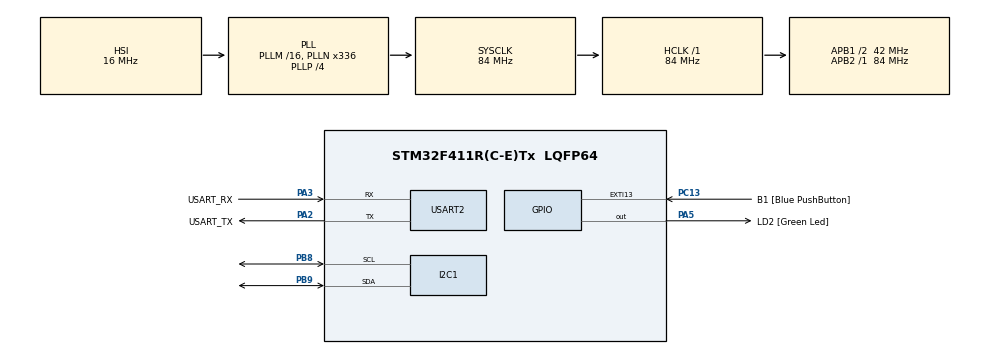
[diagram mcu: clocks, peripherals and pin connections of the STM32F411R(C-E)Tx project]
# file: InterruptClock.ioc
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I2C1.I2C_Mode=I2C_Fast
Mcu.Family=STM32F4
Mcu.Name=STM32F411R(C-E)Tx
Mcu.Package=LQFP64
NVIC.PriorityGroup=NVIC_PRIORITYGROUP_0
NVIC.TIM1_UP_TIM10_IRQn=true\:0\:0\:false\:false\:true\:true\:true\:true
PA13.GPIO_Label=TMS
PA13.Mode=Serial_Wire
PA13.Signal=SYS_JTMS-SWDIO
PA14.GPIO_Label=TCK
PA14.Mode=Serial_Wire
PA14.Signal=SYS_JTCK-SWCLK
PA2.GPIO_Label=USART_TX
PA2.Mode=Asynchronous
PA2.Signal=USART2_TX
PA3.GPIO_Label=USART_RX
PA3.Mode=Asynchronous
PA3.Signal=USART2_RX
PA5.GPIO_Label=LD2 [Green Led]
PA5.Signal=GPIO_Output
PB3.GPIO_Label=SWO
PB3.Signal=SYS_JTDO-SWO
PB8.Mode=I2C
PB8.Signal=I2C1_SCL
PB9.Mode=I2C
PB9.Signal=I2C1_SDA
PC13-ANTI_TAMP.GPIO_Label=B1 [Blue PushButton]
PC13-ANTI_TAMP.GPIO_ModeDefaultEXTI=GPIO_MODE_IT_FALLING
PC13-ANTI_TAMP.Signal=GPXTI13
PC14-OSC32_IN.Mode=LSE-External-Oscillator
PC14-OSC32_IN.Signal=RCC_OSC32_IN
PC15-OSC32_OUT.Mode=LSE-External-Oscillator
PC15-OSC32_OUT.Signal=RCC_OSC32_OUT
PH0\ -\ OSC_IN.Mode=HSE-External-Clock-Source
PH0\ -\ OSC_IN.Signal=RCC_OSC_IN
PH1\ -\ OSC_OUT.Mode=HSE-External-Clock-Source
PH1\ -\ OSC_OUT.Signal=RCC_OSC_OUT
ProjectManager.HeapSize=0x200
ProjectManager.StackSize=0x400
ProjectManager.TargetToolchain=STM32CubeIDE
RCC.48MHZClocksFreq_Value=84000000
RCC.AHBFreq_Value=84000000
RCC.APB1CLKDivider=RCC_HCLK_DIV2
RCC.APB1Freq_Value=42000000
RCC.APB1TimFreq_Value=84000000
RCC.APB2Freq_Value=84000000
RCC.APB2TimFreq_Value=84000000
RCC.CortexFreq_Value=84000000
RCC.FLatency-AdvancedSettings=FLASH_LATENCY_2
RCC.HCLKFreq_Value=84000000
RCC.HSE_VALUE=8000000
RCC.HSI_VALUE=16000000
RCC.PLLN=336
RCC.PLLP=RCC_PLLP_DIV4
RCC.RCC_RTC_Clock_Source=RCC_RTCCLKSOURCE_LSI
RCC.RCC_RTC_Clock_SourceVirtual=RCC_RTCCLKSOURCE_LSI
RCC.SYSCLKFreq_VALUE=84000000
RCC.SYSCLKSource=RCC_SYSCLKSOURCE_PLLCLK
RCC.VCOOutputFreq_Value=336000000
TIM1.ClockDivision=TIM_CLOCKDIVISION_DIV1
TIM1.Period=9999
TIM1.Prescaler=8399
USART2.VirtualMode=VM_ASYNC
VP_TIM1_VS_ClockSourceINT.Mode=Internal
VP_TIM1_VS_ClockSourceITR.Mode=TriggerSource_ITR0
board=NUCLEO-F411RE

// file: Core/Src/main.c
/* USER CODE BEGIN Header */
/**
  ******************************************************************************
  * @file           : main.c
  * @brief          : Main program body
  ******************************************************************************
  * @attention
  *
  * Copyright (c) 2026 STMicroelectronics.
  * All rights reserved.
  *
  * This software is licensed under terms that can be found in the LICENSE file
  * in the root directory of this software component.
  * If no LICENSE file comes with this software, it is provided AS-IS.
  *
  ******************************************************************************
  */
/* USER CODE END Header */
#include "main.h"

/* USER CODE BEGIN Includes */
#include <stdio.h>
#include <stm32f4xx_hal.h>

#include "ssd1306/lib/ssd1306.h"
#include "ssd1306/lib/fonts/font_8x8.h"
#include "ssd1306/lib/fonts/font_16x16.h"
/* USER CODE END Includes */

I2C_HandleTypeDef hi2c1;

TIM_HandleTypeDef htim1;

UART_HandleTypeDef huart2;

/* USER CODE BEGIN PV */
	uint8_t hour;
	uint8_t	minute;
	volatile uint8_t second;		//use the volatile keyword to tell the compiler not to optimize this variable, as we use it in the ISR

	char displayTimeBuffer[9] = "hello!";
/* USER CODE END PV */

void SystemClock_Config(void);
static void MX_GPIO_Init(void);
static void MX_USART2_UART_Init(void);
static void MX_TIM1_Init(void);
static void MX_I2C1_Init(void);

/* USER CODE BEGIN 0 */

int _write(int file, char* ptr, int len) {
    for(int i = 0; i < len; i++) {
        //ITM_SendChar((*ptr++));                    // ADD THIS
    }
    HAL_UART_Transmit(&huart2, (const uint8_t*)ptr, len, 100);
    return len;
}
//---------------Clock ISR-----------------------------
void HAL_TIM_PeriodElapsedCallback(TIM_HandleTypeDef *htim){
	HAL_GPIO_TogglePin(GPIOA, GPIO_PIN_5);		//toggle state of onboard LED
	second++;									//update second
}

/* USER CODE END 0 */

int main(void)
{

  /* MCU Configuration--------------------------------------------------------*/

  /* Reset of all peripherals, Initializes the Flash interface and the Systick. */
  HAL_Init();

  /* Configure the system clock */
  SystemClock_Config();

  /* Initialize all configured peripherals */
  MX_GPIO_Init();
  MX_USART2_UART_Init();
  MX_TIM1_Init();
  MX_I2C1_Init();
  /* USER CODE BEGIN 2 */
  HAL_TIM_Base_Start_IT(&htim1);

  //set up the OLED screen
  ssd1306_t screen = {};
        if (!ssd1306_init(&screen, &hi2c1))
        	return 1;

  /* USER CODE END 2 */

  /* Infinite loop */
  while (1)
  {

    /* USER CODE BEGIN 3 */
	  uint8_t userButton =  !HAL_GPIO_ReadPin(GPIOC, GPIO_PIN_13);		//Poll GPIO here to react to user input quicker

	  if(userButton) ++minute;		//check button input, increase the minute count if pressed
	  if(second >= 60) {			//increase the minutes and reset the seconds when we reach 60
		 ++minute;
		 second -= 60;
	  }
	  if(minute >= 60) {			//roll-over 60 minutes to an hour
	  	++hour;
	  	minute -= 60;
	  		  }
	  if(hour >= 24) hour -= 24;	//once we hit midnight, reset hours

	  ssd1306_fill(&screen, BLACK);	//clear the screen
	  //make the string to print to the screen, and ensure that we don't overflow our buffer
	  snprintf(displayTimeBuffer, sizeof(displayTimeBuffer), "%02d:%02d:%02d", hour % 24, minute % 60, second % 60);
	  ssd1306_draw_text(&screen, &font_16x16, displayTimeBuffer, 0, 24);	//print our time, center on the screen
	  ssd1306_update(&screen);	//send the frame to be displayed
	  if(userButton) HAL_Delay(300);	//short delay to make sure multiple
  }
  /* USER CODE END 3 */
}

void SystemClock_Config(void)
{
  RCC_OscInitTypeDef RCC_OscInitStruct = {0};
  RCC_ClkInitTypeDef RCC_ClkInitStruct = {0};

  /** Configure the main internal regulator output voltage
  */
  __HAL_RCC_PWR_CLK_ENABLE();
  __HAL_PWR_VOLTAGESCALING_CONFIG(PWR_REGULATOR_VOLTAGE_SCALE1);

  /** Initializes the RCC Oscillators according to the specified parameters
  * in the RCC_OscInitTypeDef structure.
  */
  RCC_OscInitStruct.OscillatorType = RCC_OSCILLATORTYPE_HSI;
  RCC_OscInitStruct.HSIState = RCC_HSI_ON;
  RCC_OscInitStruct.HSICalibrationValue = RCC_HSICALIBRATION_DEFAULT;
  RCC_OscInitStruct.PLL.PLLState = RCC_PLL_ON;
  RCC_OscInitStruct.PLL.PLLSource = RCC_PLLSOURCE_HSI;
  RCC_OscInitStruct.PLL.PLLM = 16;
  RCC_OscInitStruct.PLL.PLLN = 336;
  RCC_OscInitStruct.PLL.PLLP = RCC_PLLP_DIV4;
  RCC_OscInitStruct.PLL.PLLQ = 4;
  if (HAL_RCC_OscConfig(&RCC_OscInitStruct) != HAL_OK)
  {
    Error_Handler();
  }

  /** Initializes the CPU, AHB and APB buses clocks
  */
  RCC_ClkInitStruct.ClockType = RCC_CLOCKTYPE_HCLK|RCC_CLOCKTYPE_SYSCLK
                              |RCC_CLOCKTYPE_PCLK1|RCC_CLOCKTYPE_PCLK2;
  RCC_ClkInitStruct.SYSCLKSource = RCC_SYSCLKSOURCE_PLLCLK;
  RCC_ClkInitStruct.AHBCLKDivider = RCC_SYSCLK_DIV1;
  RCC_ClkInitStruct.APB1CLKDivider = RCC_HCLK_DIV2;
  RCC_ClkInitStruct.APB2CLKDivider = RCC_HCLK_DIV1;

  if (HAL_RCC_ClockConfig(&RCC_ClkInitStruct, FLASH_LATENCY_2) != HAL_OK)
  {
    Error_Handler();
  }
}

static void MX_I2C1_Init(void)
{

  hi2c1.Instance = I2C1;
  hi2c1.Init.ClockSpeed = 400000;
  hi2c1.Init.DutyCycle = I2C_DUTYCYCLE_2;
  hi2c1.Init.OwnAddress1 = 0;
  hi2c1.Init.AddressingMode = I2C_ADDRESSINGMODE_7BIT;
  hi2c1.Init.DualAddressMode = I2C_DUALADDRESS_DISABLE;
  hi2c1.Init.OwnAddress2 = 0;
  hi2c1.Init.GeneralCallMode = I2C_GENERALCALL_DISABLE;
  hi2c1.Init.NoStretchMode = I2C_NOSTRETCH_DISABLE;
  if (HAL_I2C_Init(&hi2c1) != HAL_OK)
  {
    Error_Handler();
  }

}

static void MX_TIM1_Init(void)
{

  TIM_ClockConfigTypeDef sClockSourceConfig = {0};
  TIM_SlaveConfigTypeDef sSlaveConfig = {0};
  TIM_MasterConfigTypeDef sMasterConfig = {0};

  htim1.Instance = TIM1;
  htim1.Init.Prescaler = 8399;
  htim1.Init.CounterMode = TIM_COUNTERMODE_UP;
  htim1.Init.Period = 9999;
  htim1.Init.ClockDivision = TIM_CLOCKDIVISION_DIV1;
  htim1.Init.RepetitionCounter = 0;
  htim1.Init.AutoReloadPreload = TIM_AUTORELOAD_PRELOAD_DISABLE;
  if (HAL_TIM_Base_Init(&htim1) != HAL_OK)
  {
    Error_Handler();
  }
  sClockSourceConfig.ClockSource = TIM_CLOCKSOURCE_INTERNAL;
  if (HAL_TIM_ConfigClockSource(&htim1, &sClockSourceConfig) != HAL_OK)
  {
    Error_Handler();
  }
  sSlaveConfig.SlaveMode = TIM_SLAVEMODE_DISABLE;
  sSlaveConfig.InputTrigger = TIM_TS_ITR0;
  if (HAL_TIM_SlaveConfigSynchro(&htim1, &sSlaveConfig) != HAL_OK)
  {
    Error_Handler();
  }
  sMasterConfig.MasterOutputTrigger = TIM_TRGO_RESET;
  sMasterConfig.MasterSlaveMode = TIM_MASTERSLAVEMODE_DISABLE;
  if (HAL_TIMEx_MasterConfigSynchronization(&htim1, &sMasterConfig) != HAL_OK)
  {
    Error_Handler();
  }

}

static void MX_USART2_UART_Init(void)
{

  huart2.Instance = USART2;
  huart2.Init.BaudRate = 115200;
  huart2.Init.WordLength = UART_WORDLENGTH_8B;
  huart2.Init.StopBits = UART_STOPBITS_1;
  huart2.Init.Parity = UART_PARITY_NONE;
  huart2.Init.Mode = UART_MODE_TX_RX;
  huart2.Init.HwFlowCtl = UART_HWCONTROL_NONE;
  huart2.Init.OverSampling = UART_OVERSAMPLING_16;
  if (HAL_UART_Init(&huart2) != HAL_OK)
  {
    Error_Handler();
  }

}

static void MX_GPIO_Init(void)
{
  GPIO_InitTypeDef GPIO_InitStruct = {0};

  /* GPIO Ports Clock Enable */
  __HAL_RCC_GPIOC_CLK_ENABLE();
  __HAL_RCC_GPIOH_CLK_ENABLE();
  __HAL_RCC_GPIOA_CLK_ENABLE();
  __HAL_RCC_GPIOB_CLK_ENABLE();

  /*Configure GPIO pin Output Level */
  HAL_GPIO_WritePin(LD2_GPIO_Port, LD2_Pin, GPIO_PIN_RESET);

  /*Configure GPIO pin : B1_Pin */
  GPIO_InitStruct.Pin = B1_Pin;
  GPIO_InitStruct.Mode = GPIO_MODE_IT_FALLING;
  GPIO_InitStruct.Pull = GPIO_NOPULL;
  HAL_GPIO_Init(B1_GPIO_Port, &GPIO_InitStruct);

  /*Configure GPIO pin : LD2_Pin */
  GPIO_InitStruct.Pin = LD2_Pin;
  GPIO_InitStruct.Mode = GPIO_MODE_OUTPUT_PP;
  GPIO_InitStruct.Pull = GPIO_NOPULL;
  GPIO_InitStruct.Speed = GPIO_SPEED_FREQ_LOW;
  HAL_GPIO_Init(LD2_GPIO_Port, &GPIO_InitStruct);

}

void Error_Handler(void)
{
  __disable_irq();
  while (1)
  {
  }
}
